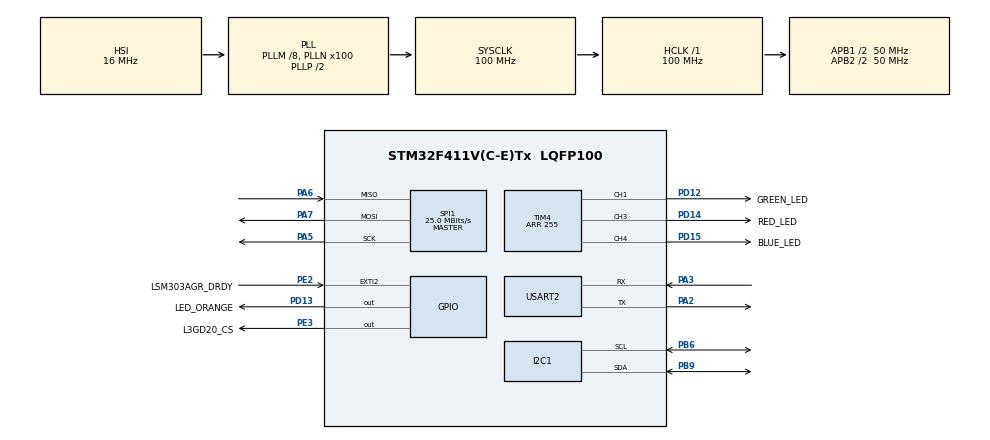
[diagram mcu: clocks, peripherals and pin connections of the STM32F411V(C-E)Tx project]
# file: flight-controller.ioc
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Dma.I2C1_RX.0.Direction=DMA_PERIPH_TO_MEMORY
Dma.I2C1_RX.0.FIFOMode=DMA_FIFOMODE_DISABLE
Dma.I2C1_RX.0.Instance=DMA1_Stream0
Dma.I2C1_RX.0.MemDataAlignment=DMA_MDATAALIGN_BYTE
Dma.I2C1_RX.0.MemInc=DMA_MINC_ENABLE
Dma.I2C1_RX.0.Mode=DMA_NORMAL
Dma.I2C1_RX.0.PeriphDataAlignment=DMA_PDATAALIGN_BYTE
Dma.I2C1_RX.0.PeriphInc=DMA_PINC_DISABLE
Dma.I2C1_RX.0.Priority=DMA_PRIORITY_LOW
Dma.Request0=I2C1_RX
Dma.Request1=USART2_TX
Dma.USART2_TX.1.Direction=DMA_MEMORY_TO_PERIPH
Dma.USART2_TX.1.FIFOMode=DMA_FIFOMODE_DISABLE
Dma.USART2_TX.1.Instance=DMA1_Stream6
Dma.USART2_TX.1.MemDataAlignment=DMA_MDATAALIGN_BYTE
Dma.USART2_TX.1.MemInc=DMA_MINC_ENABLE
Dma.USART2_TX.1.Mode=DMA_NORMAL
Dma.USART2_TX.1.PeriphDataAlignment=DMA_PDATAALIGN_BYTE
Dma.USART2_TX.1.PeriphInc=DMA_PINC_DISABLE
Dma.USART2_TX.1.Priority=DMA_PRIORITY_LOW
I2C1.I2C_Mode=I2C_Fast
Mcu.Family=STM32F4
Mcu.Name=STM32F411V(C-E)Tx
Mcu.Package=LQFP100
NVIC.DMA1_Stream0_IRQn=true\:0\:0\:false\:false\:true\:false\:true\:true
NVIC.DMA1_Stream6_IRQn=true\:0\:0\:false\:false\:true\:false\:true\:true
NVIC.EXTI2_IRQn=true\:0\:0\:false\:false\:true\:true\:true\:true
NVIC.PriorityGroup=NVIC_PRIORITYGROUP_0
NVIC.SPI1_IRQn=true\:0\:0\:false\:false\:true\:true\:true\:true
PA2.Mode=Asynchronous
PA2.Signal=USART2_TX
PA3.Mode=Asynchronous
PA3.Signal=USART2_RX
PA5.Mode=Full_Duplex_Master
PA5.Signal=SPI1_SCK
PA6.Mode=Full_Duplex_Master
PA6.Signal=SPI1_MISO
PA7.Mode=Full_Duplex_Master
PA7.Signal=SPI1_MOSI
PB6.GPIO_Pu=GPIO_PULLUP
PB6.Mode=I2C
PB6.Signal=I2C1_SCL
PB9.GPIO_Pu=GPIO_PULLUP
PB9.Mode=I2C
PB9.Signal=I2C1_SDA
PD12.GPIO_Label=GREEN_LED
PD12.Signal=S_TIM4_CH1
PD13.GPIO_Label=LED_ORANGE
PD13.Signal=GPIO_Output
PD14.GPIO_Label=RED_LED
PD14.Signal=S_TIM4_CH3
PD15.GPIO_Label=BLUE_LED
PD15.Signal=S_TIM4_CH4
PE2.GPIO_Label=LSM303AGR_DRDY
PE2.GPIO_PuPd=GPIO_NOPULL
PE2.Signal=GPXTI2
PE3.GPIO_Label=L3GD20_CS
PE3.Signal=GPIO_Output
ProjectManager.HeapSize=0x200
ProjectManager.StackSize=0x400
ProjectManager.TargetToolchain=STM32CubeIDE
RCC.48MHZClocksFreq_Value=25000000
RCC.AHBFreq_Value=100000000
RCC.APB1CLKDivider=RCC_HCLK_DIV2
RCC.APB1Freq_Value=50000000
RCC.APB1TimFreq_Value=100000000
RCC.APB2CLKDivider=RCC_HCLK_DIV2
RCC.APB2Freq_Value=50000000
RCC.APB2TimFreq_Value=100000000
RCC.CortexFreq_Value=100000000
RCC.HCLKFreq_Value=100000000
RCC.HSE_VALUE=8000000
RCC.HSI_VALUE=16000000
RCC.LSE_VALUE=32768
RCC.PLLI2SM=5
RCC.PLLI2SN=200
RCC.PLLM=8
RCC.PLLN=100
RCC.PLLQ=8
RCC.SYSCLKFreq_VALUE=100000000
RCC.SYSCLKSource=RCC_SYSCLKSOURCE_PLLCLK
RCC.VCOOutputFreq_Value=200000000
SH.S_TIM4_CH1.0=TIM4_CH1,PWM Generation1 CH1
SH.S_TIM4_CH3.0=TIM4_CH3,PWM Generation3 CH3
SH.S_TIM4_CH4.0=TIM4_CH4,PWM Generation4 CH4
SPI1.CalculateBaudRate=25.0 MBits/s
SPI1.Direction=SPI_DIRECTION_2LINES
SPI1.Mode=SPI_MODE_MASTER
SPI1.VirtualType=VM_MASTER
TIM4.AutoReloadPreload=TIM_AUTORELOAD_PRELOAD_ENABLE
TIM4.Channel-PWM\ Generation1\ CH1=TIM_CHANNEL_1
TIM4.Channel-PWM\ Generation3\ CH3=TIM_CHANNEL_3
TIM4.Channel-PWM\ Generation4\ CH4=TIM_CHANNEL_4
TIM4.OCMode_PWM-PWM\ Generation1\ CH1=TIM_OCMODE_PWM1
TIM4.Period=255
USART2.VirtualMode=VM_ASYNC
VP_TIM4_VS_ClockSourceINT.Mode=Internal
board=STM32F411E-DISCO

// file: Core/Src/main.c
/* USER CODE BEGIN Header */
/**
  ******************************************************************************
  * @file           : main.c
  * @author         : Dionisie Stratulat
  * @brief          : Main program body
  ******************************************************************************
  */
/* USER CODE END Header */
#include "main.h"

/* USER CODE BEGIN Includes */
#include "l3gd20.h"
#include "lsm303agr.h"
#include "circular_buffer.h"
#include "utils.h"
#include "pwm.h"
#include <string.h>
#include <stdio.h>
/* USER CODE END Includes */

/* USER CODE BEGIN PTD */
typedef union LSM303AGR_Data {
	struct {
		int16_t x, y, z;
	};
	uint8_t raw[6];
} LSM303AGR_Data;
/* USER CODE END PTD */

/* USER CODE BEGIN PD */
#define MOVING_AVG_BUFFER_SIZE  100
#define BLUE_LED_TIM_CHANNEL    TIM_CHANNEL_4
#define RED_LED_TIM_CHANNEL     TIM_CHANNEL_3
#define GREEN_LED_TIM_CHANNEL   TIM_CHANNEL_1
/* USER CODE END PD */

I2C_HandleTypeDef hi2c1;
DMA_HandleTypeDef hdma_i2c1_rx;

SPI_HandleTypeDef hspi1;

TIM_HandleTypeDef htim4;

UART_HandleTypeDef huart2;
DMA_HandleTypeDef hdma_usart2_tx;

/* USER CODE BEGIN PV */
LSM303AGR_Data lsm303agr_data;
/* USER CODE END PV */

void SystemClock_Config(void);
static void MX_GPIO_Init(void);
static void MX_DMA_Init(void);
static void MX_SPI1_Init(void);
static void MX_TIM4_Init(void);
static void MX_USART2_UART_Init(void);
static void MX_I2C1_Init(void);
/* USER CODE BEGIN PFP */
static void L3GD20_Init(void);
static void lsm303agr_init(void);
static inline void lsm303agr_write_register(uint8_t register_address, uint8_t data);
static inline uint8_t lsm303agr_read_register(uint8_t register_address);
// This function makes printf work
int __io_putchar(int ch);
/* USER CODE END PFP */

int main(void)
{

  /* USER CODE BEGIN 1 */
  memset(lsm303agr_data.raw, 0, sizeof(lsm303agr_data));
  /* USER CODE END 1 */

  /* MCU Configuration--------------------------------------------------------*/

  /* Reset of all peripherals, Initializes the Flash interface and the Systick. */
  HAL_Init();

  /* Configure the system clock */
  SystemClock_Config();

  /* Initialize all configured peripherals */
  MX_GPIO_Init();
  MX_DMA_Init();
  MX_SPI1_Init();
  MX_TIM4_Init();
  MX_USART2_UART_Init();
  MX_I2C1_Init();
  /* USER CODE BEGIN 2 */
  L3GD20_Init();
  lsm303agr_init();
  HAL_TIM_PWM_Start(&htim4, RED_LED_TIM_CHANNEL);
  HAL_TIM_PWM_Start(&htim4, GREEN_LED_TIM_CHANNEL);
  HAL_TIM_PWM_Start(&htim4, BLUE_LED_TIM_CHANNEL);
  /* USER CODE END 2 */

  /* Infinite loop */
  /* USER CODE BEGIN WHILE */
  printf("Program started.\r\n");
  while (1)
  {
	HAL_I2C_Mem_Read_DMA(&hi2c1, LSM303AGR_ACC_I2C_ADDRESS, LSM303AGR_OUT_X_L_A | 0x80, I2C_MEMADD_SIZE_8BIT, lsm303agr_data.raw, 6);
	HAL_Delay(10);
    /* USER CODE END WHILE */

    /* USER CODE BEGIN 3 */
  }
  // Cleanup
  /* USER CODE END 3 */
}

void SystemClock_Config(void)
{
  RCC_OscInitTypeDef RCC_OscInitStruct = {0};
  RCC_ClkInitTypeDef RCC_ClkInitStruct = {0};

  /** Configure the main internal regulator output voltage
  */
  __HAL_RCC_PWR_CLK_ENABLE();
  __HAL_PWR_VOLTAGESCALING_CONFIG(PWR_REGULATOR_VOLTAGE_SCALE1);

  /** Initializes the RCC Oscillators according to the specified parameters
  * in the RCC_OscInitTypeDef structure.
  */
  RCC_OscInitStruct.OscillatorType = RCC_OSCILLATORTYPE_HSI;
  RCC_OscInitStruct.HSIState = RCC_HSI_ON;
  RCC_OscInitStruct.HSICalibrationValue = RCC_HSICALIBRATION_DEFAULT;
  RCC_OscInitStruct.PLL.PLLState = RCC_PLL_ON;
  RCC_OscInitStruct.PLL.PLLSource = RCC_PLLSOURCE_HSI;
  RCC_OscInitStruct.PLL.PLLM = 8;
  RCC_OscInitStruct.PLL.PLLN = 100;
  RCC_OscInitStruct.PLL.PLLP = RCC_PLLP_DIV2;
  RCC_OscInitStruct.PLL.PLLQ = 8;
  if (HAL_RCC_OscConfig(&RCC_OscInitStruct) != HAL_OK)
  {
    Error_Handler();
  }

  /** Initializes the CPU, AHB and APB buses clocks
  */
  RCC_ClkInitStruct.ClockType = RCC_CLOCKTYPE_HCLK|RCC_CLOCKTYPE_SYSCLK
                              |RCC_CLOCKTYPE_PCLK1|RCC_CLOCKTYPE_PCLK2;
  RCC_ClkInitStruct.SYSCLKSource = RCC_SYSCLKSOURCE_PLLCLK;
  RCC_ClkInitStruct.AHBCLKDivider = RCC_SYSCLK_DIV1;
  RCC_ClkInitStruct.APB1CLKDivider = RCC_HCLK_DIV2;
  RCC_ClkInitStruct.APB2CLKDivider = RCC_HCLK_DIV2;

  if (HAL_RCC_ClockConfig(&RCC_ClkInitStruct, FLASH_LATENCY_3) != HAL_OK)
  {
    Error_Handler();
  }
}

static void MX_I2C1_Init(void)
{

  hi2c1.Instance = I2C1;
  hi2c1.Init.ClockSpeed = 400000;
  hi2c1.Init.DutyCycle = I2C_DUTYCYCLE_2;
  hi2c1.Init.OwnAddress1 = 0;
  hi2c1.Init.AddressingMode = I2C_ADDRESSINGMODE_7BIT;
  hi2c1.Init.DualAddressMode = I2C_DUALADDRESS_DISABLE;
  hi2c1.Init.OwnAddress2 = 0;
  hi2c1.Init.GeneralCallMode = I2C_GENERALCALL_DISABLE;
  hi2c1.Init.NoStretchMode = I2C_NOSTRETCH_DISABLE;
  if (HAL_I2C_Init(&hi2c1) != HAL_OK)
  {
    Error_Handler();
  }

}

static void MX_SPI1_Init(void)
{

  /* SPI1 parameter configuration*/
  hspi1.Instance = SPI1;
  hspi1.Init.Mode = SPI_MODE_MASTER;
  hspi1.Init.Direction = SPI_DIRECTION_2LINES;
  hspi1.Init.DataSize = SPI_DATASIZE_8BIT;
  hspi1.Init.CLKPolarity = SPI_POLARITY_LOW;
  hspi1.Init.CLKPhase = SPI_PHASE_1EDGE;
  hspi1.Init.NSS = SPI_NSS_SOFT;
  hspi1.Init.BaudRatePrescaler = SPI_BAUDRATEPRESCALER_2;
  hspi1.Init.FirstBit = SPI_FIRSTBIT_MSB;
  hspi1.Init.TIMode = SPI_TIMODE_DISABLE;
  hspi1.Init.CRCCalculation = SPI_CRCCALCULATION_DISABLE;
  hspi1.Init.CRCPolynomial = 10;
  if (HAL_SPI_Init(&hspi1) != HAL_OK)
  {
    Error_Handler();
  }

}

static void MX_TIM4_Init(void)
{

  TIM_ClockConfigTypeDef sClockSourceConfig = {0};
  TIM_MasterConfigTypeDef sMasterConfig = {0};
  TIM_OC_InitTypeDef sConfigOC = {0};

  htim4.Instance = TIM4;
  htim4.Init.Prescaler = 0;
  htim4.Init.CounterMode = TIM_COUNTERMODE_UP;
  htim4.Init.Period = 255;
  htim4.Init.ClockDivision = TIM_CLOCKDIVISION_DIV1;
  htim4.Init.AutoReloadPreload = TIM_AUTORELOAD_PRELOAD_ENABLE;
  if (HAL_TIM_Base_Init(&htim4) != HAL_OK)
  {
    Error_Handler();
  }
  sClockSourceConfig.ClockSource = TIM_CLOCKSOURCE_INTERNAL;
  if (HAL_TIM_ConfigClockSource(&htim4, &sClockSourceConfig) != HAL_OK)
  {
    Error_Handler();
  }
  if (HAL_TIM_PWM_Init(&htim4) != HAL_OK)
  {
    Error_Handler();
  }
  sMasterConfig.MasterOutputTrigger = TIM_TRGO_RESET;
  sMasterConfig.MasterSlaveMode = TIM_MASTERSLAVEMODE_DISABLE;
  if (HAL_TIMEx_MasterConfigSynchronization(&htim4, &sMasterConfig) != HAL_OK)
  {
    Error_Handler();
  }
  sConfigOC.OCMode = TIM_OCMODE_PWM1;
  sConfigOC.Pulse = 0;
  sConfigOC.OCPolarity = TIM_OCPOLARITY_HIGH;
  sConfigOC.OCFastMode = TIM_OCFAST_DISABLE;
  if (HAL_TIM_PWM_ConfigChannel(&htim4, &sConfigOC, TIM_CHANNEL_1) != HAL_OK)
  {
    Error_Handler();
  }
  if (HAL_TIM_PWM_ConfigChannel(&htim4, &sConfigOC, TIM_CHANNEL_3) != HAL_OK)
  {
    Error_Handler();
  }
  if (HAL_TIM_PWM_ConfigChannel(&htim4, &sConfigOC, TIM_CHANNEL_4) != HAL_OK)
  {
    Error_Handler();
  }
  HAL_TIM_MspPostInit(&htim4);

}

static void MX_USART2_UART_Init(void)
{

  huart2.Instance = USART2;
  huart2.Init.BaudRate = 115200;
  huart2.Init.WordLength = UART_WORDLENGTH_8B;
  huart2.Init.StopBits = UART_STOPBITS_1;
  huart2.Init.Parity = UART_PARITY_NONE;
  huart2.Init.Mode = UART_MODE_TX_RX;
  huart2.Init.HwFlowCtl = UART_HWCONTROL_NONE;
  huart2.Init.OverSampling = UART_OVERSAMPLING_16;
  if (HAL_UART_Init(&huart2) != HAL_OK)
  {
    Error_Handler();
  }

}

static void MX_DMA_Init(void)
{

  /* DMA controller clock enable */
  __HAL_RCC_DMA1_CLK_ENABLE();

  /* DMA interrupt init */
  /* DMA1_Stream0_IRQn interrupt configuration */
  HAL_NVIC_SetPriority(DMA1_Stream0_IRQn, 0, 0);
  HAL_NVIC_EnableIRQ(DMA1_Stream0_IRQn);
  /* DMA1_Stream6_IRQn interrupt configuration */
  HAL_NVIC_SetPriority(DMA1_Stream6_IRQn, 0, 0);
  HAL_NVIC_EnableIRQ(DMA1_Stream6_IRQn);

}

static void MX_GPIO_Init(void)
{
  GPIO_InitTypeDef GPIO_InitStruct = {0};

  /* GPIO Ports Clock Enable */
  __HAL_RCC_GPIOE_CLK_ENABLE();
  __HAL_RCC_GPIOA_CLK_ENABLE();
  __HAL_RCC_GPIOD_CLK_ENABLE();
  __HAL_RCC_GPIOB_CLK_ENABLE();

  /*Configure GPIO pin Output Level */
  HAL_GPIO_WritePin(L3GD20_CS_GPIO_Port, L3GD20_CS_Pin, GPIO_PIN_RESET);

  /*Configure GPIO pin Output Level */
  HAL_GPIO_WritePin(LED_ORANGE_GPIO_Port, LED_ORANGE_Pin, GPIO_PIN_RESET);

  /*Configure GPIO pin : LSM303AGR_DRDY_Pin */
  GPIO_InitStruct.Pin = LSM303AGR_DRDY_Pin;
  GPIO_InitStruct.Mode = GPIO_MODE_IT_RISING;
  GPIO_InitStruct.Pull = GPIO_NOPULL;
  HAL_GPIO_Init(LSM303AGR_DRDY_GPIO_Port, &GPIO_InitStruct);

  /*Configure GPIO pin : L3GD20_CS_Pin */
  GPIO_InitStruct.Pin = L3GD20_CS_Pin;
  GPIO_InitStruct.Mode = GPIO_MODE_OUTPUT_PP;
  GPIO_InitStruct.Pull = GPIO_NOPULL;
  GPIO_InitStruct.Speed = GPIO_SPEED_FREQ_LOW;
  HAL_GPIO_Init(L3GD20_CS_GPIO_Port, &GPIO_InitStruct);

  /*Configure GPIO pin : LED_ORANGE_Pin */
  GPIO_InitStruct.Pin = LED_ORANGE_Pin;
  GPIO_InitStruct.Mode = GPIO_MODE_OUTPUT_PP;
  GPIO_InitStruct.Pull = GPIO_NOPULL;
  GPIO_InitStruct.Speed = GPIO_SPEED_FREQ_LOW;
  HAL_GPIO_Init(LED_ORANGE_GPIO_Port, &GPIO_InitStruct);

  /* EXTI interrupt init*/
  HAL_NVIC_SetPriority(EXTI2_IRQn, 0, 0);
  HAL_NVIC_EnableIRQ(EXTI2_IRQn);

}

/* USER CODE BEGIN 4 */
static void L3GD20_Init(void) {
  L3GD20_Initialize(&hspi1, L3GD20_CS_GPIO_Port, L3GD20_CS_Pin);
  uint8_t tx =
      L3GD20_OUTPUT_DATARATE_4 | L3GD20_BANDWIDTH_3 | // ODR 760 Hz, Cut-Off 50
      L3GD20_MODE_ACTIVE |
      L3GD20_AXES_ENABLE; // Enable all axes
  L3GD20_WriteRegister(L3GD20_CTRL_REG1_ADDR, tx);

  // Configure High Pass filter
  tx = 0;
  tx = L3GD20_HPM_NORMAL_MODE |
       L3GD20_HPFCF_1; // Cut-Off frequency configuration (27Hz for ODR 750Hz)
  L3GD20_WriteRegister(L3GD20_CTRL_REG2_ADDR, tx);

  // Use 500 dps
  // Lower dps can read slow changes accurately, while higher dps can read
  // fast changes without clipping.
  L3GD20_WriteRegister(L3GD20_CTRL_REG4_ADDR, L3GD20_FULLSCALE_500);

  // Enable High-Pass filter
  L3GD20_WriteRegister(L3GD20_CTRL_REG5_ADDR, 16);
}

static void lsm303agr_init(void) {
	uint8_t tx;

	HAL_Delay(5);
	if (lsm303agr_read_register(LSM303AGR_WHO_AM_I_ADDR) != I_AM_LSM303AGR) {
		Error_Handler();
	}

	tx = 0b10010000 | 	// 1.344 kHz ODR
			0b111;		// XYZ enabled
	lsm303agr_write_register(LSM303AGR_CTRL_REG1_A, tx);

	tx = 0b10000; // DRDY1 on INT1
	lsm303agr_write_register(LSM303AGR_CTRL_REG3_A, tx);

	tx = 0b10001000; // High Resolution (12 bit) + BDU (Block Data Update)
	lsm303agr_write_register(LSM303AGR_CTRL_REG4_A, tx);

	tx = 0b1000; // Latch Interrupt Request on INT1
	lsm303agr_write_register(LSM303AGR_CTRL_REG5_A, tx);

	HAL_Delay(10);
	while (HAL_GPIO_ReadPin(LSM303AGR_DRDY_GPIO_Port, LSM303AGR_DRDY_Pin) == 1) {
		HAL_I2C_Mem_Read_DMA(&hi2c1, LSM303AGR_ACC_I2C_ADDRESS, LSM303AGR_OUT_X_L_A | 0x80, I2C_MEMADD_SIZE_8BIT, lsm303agr_data.raw, 6);
	}
}

void HAL_GPIO_EXTI_Callback(uint16_t GPIO_Pin) {
	if (GPIO_Pin == LSM303AGR_DRDY_Pin) {
		HAL_I2C_Mem_Read_DMA(&hi2c1, LSM303AGR_ACC_I2C_ADDRESS, LSM303AGR_OUT_X_L_A | 0x80, I2C_MEMADD_SIZE_8BIT, lsm303agr_data.raw, 6);
	}
}

static inline void lsm303agr_write_register(uint8_t register_address, uint8_t data) {
	uint8_t tx[2] = { register_address, data };
	HAL_I2C_Master_Transmit(&hi2c1, LSM303AGR_ACC_I2C_ADDRESS, tx, sizeof(tx), HAL_MAX_DELAY);
}

static inline uint8_t lsm303agr_read_register(uint8_t register_address) {
	uint8_t rx = 0;
	HAL_I2C_Master_Transmit(&hi2c1, LSM303AGR_ACC_I2C_ADDRESS | 0x01, &register_address, 1, HAL_MAX_DELAY);
	HAL_I2C_Master_Receive(&hi2c1, LSM303AGR_ACC_I2C_ADDRESS | 0x01, &rx, 1, HAL_MAX_DELAY);
	return rx;
}

int __io_putchar(int ch) {
    HAL_UART_Transmit(&huart2, (uint8_t *)&ch, 1, HAL_MAX_DELAY);
    return ch;
}
/* USER CODE END 4 */

void Error_Handler(void)
{
  /* USER CODE BEGIN Error_Handler_Debug */
  /* User can add his own implementation to report the HAL error return state */
  __disable_irq();
  while (1)
  {
	  HAL_GPIO_TogglePin(LED_ORANGE_GPIO_Port, LED_ORANGE_Pin);
	  HAL_Delay(600);
  }
  /* USER CODE END Error_Handler_Debug */
}
